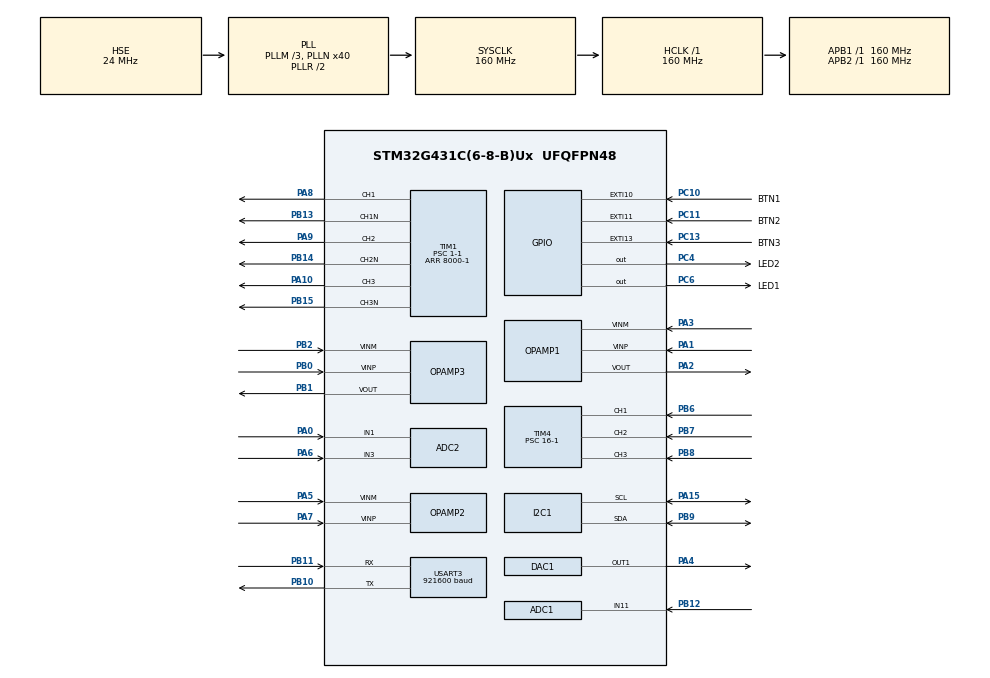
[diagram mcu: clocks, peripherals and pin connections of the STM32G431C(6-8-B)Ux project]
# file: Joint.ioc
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ADC1.Channel-0\#ChannelRegularConversion=ADC_CHANNEL_11
ADC1.ClockPrescaler=ADC_CLOCK_ASYNC_DIV4
ADC1.EnableInjectedConversion=ENABLE
ADC1.ExternalTrigInjecConv=ADC_EXTERNALTRIGINJEC_T1_CC4
ADC1.InjNumberOfConversion=2
ADC1.InjectedChannel-3\#ChannelInjectedConversion=ADC_CHANNEL_3
ADC1.InjectedChannel-4\#ChannelInjectedConversion=ADC_CHANNEL_12
ADC1.InjectedOffsetNumber-3\#ChannelInjectedConversion=ADC_OFFSET_NONE
ADC1.InjectedOffsetNumber-4\#ChannelInjectedConversion=ADC_OFFSET_NONE
ADC1.InjectedRank-3\#ChannelInjectedConversion=1
ADC1.InjectedRank-4\#ChannelInjectedConversion=2
ADC1.InjectedSamplingTime-3\#ChannelInjectedConversion=ADC_SAMPLETIME_6CYCLES_5
ADC1.InjectedSamplingTime-4\#ChannelInjectedConversion=ADC_SAMPLETIME_6CYCLES_5
ADC1.NbrOfConversionFlag=1
ADC1.OffsetNumber-0\#ChannelRegularConversion=ADC_OFFSET_NONE
ADC1.Rank-0\#ChannelRegularConversion=1
ADC1.Rank1_Channel=ADC_CHANNEL_3
ADC1.Rank2_Channel=ADC_CHANNEL_12
ADC1.SamplingTime-0\#ChannelRegularConversion=ADC_SAMPLETIME_2CYCLES_5
ADC1.master=1
ADC2.Channel-0\#ChannelRegularConversion=ADC_CHANNEL_1
ADC2.ClockPrescaler=ADC_CLOCK_ASYNC_DIV4
ADC2.EnableInjectedConversion=ENABLE
ADC2.ExternalTrigInjecConv=ADC_EXTERNALTRIGINJEC_T1_CC4
ADC2.InjNumberOfConversion=1
ADC2.InjectedChannel-1\#ChannelInjectedConversion=ADC_CHANNEL_3
ADC2.InjectedOffsetNumber-1\#ChannelInjectedConversion=ADC_OFFSET_NONE
ADC2.InjectedRank-1\#ChannelInjectedConversion=1
ADC2.InjectedSamplingTime-1\#ChannelInjectedConversion=ADC_SAMPLETIME_6CYCLES_5
ADC2.NbrOfConversionFlag=1
ADC2.OffsetNumber-0\#ChannelRegularConversion=ADC_OFFSET_NONE
ADC2.Rank-0\#ChannelRegularConversion=1
ADC2.Rank1_Channel=ADC_CHANNEL_3
ADC2.Rank2_Channel=ADC_CHANNEL_1
ADC2.SamplingTime-0\#ChannelRegularConversion=ADC_SAMPLETIME_2CYCLES_5
COMP1.TriggerMode=COMP_TRIGGERMODE_IT_RISING
Dma.Request0=USART3_RX
Dma.Request1=USART3_TX
Dma.USART3_RX.0.Direction=DMA_PERIPH_TO_MEMORY
Dma.USART3_RX.0.EventEnable=DISABLE
Dma.USART3_RX.0.Instance=DMA1_Channel1
Dma.USART3_RX.0.MemDataAlignment=DMA_MDATAALIGN_BYTE
Dma.USART3_RX.0.MemInc=DMA_MINC_ENABLE
Dma.USART3_RX.0.Mode=DMA_NORMAL
Dma.USART3_RX.0.PeriphDataAlignment=DMA_PDATAALIGN_BYTE
Dma.USART3_RX.0.PeriphInc=DMA_PINC_DISABLE
Dma.USART3_RX.0.Polarity=HAL_DMAMUX_REQ_GEN_RISING
Dma.USART3_RX.0.Priority=DMA_PRIORITY_LOW
Dma.USART3_RX.0.RequestNumber=1
Dma.USART3_RX.0.SignalID=NONE
Dma.USART3_RX.0.SyncEnable=DISABLE
Dma.USART3_RX.0.SyncPolarity=HAL_DMAMUX_SYNC_NO_EVENT
Dma.USART3_RX.0.SyncRequestNumber=1
Dma.USART3_RX.0.SyncSignalID=NONE
Dma.USART3_TX.1.Direction=DMA_MEMORY_TO_PERIPH
Dma.USART3_TX.1.EventEnable=DISABLE
Dma.USART3_TX.1.Instance=DMA1_Channel2
Dma.USART3_TX.1.MemDataAlignment=DMA_MDATAALIGN_BYTE
Dma.USART3_TX.1.MemInc=DMA_MINC_ENABLE
Dma.USART3_TX.1.Mode=DMA_NORMAL
Dma.USART3_TX.1.PeriphDataAlignment=DMA_PDATAALIGN_BYTE
Dma.USART3_TX.1.PeriphInc=DMA_PINC_DISABLE
Dma.USART3_TX.1.Polarity=HAL_DMAMUX_REQ_GEN_RISING
Dma.USART3_TX.1.Priority=DMA_PRIORITY_LOW
Dma.USART3_TX.1.RequestNumber=1
Dma.USART3_TX.1.SignalID=NONE
Dma.USART3_TX.1.SyncEnable=DISABLE
Dma.USART3_TX.1.SyncPolarity=HAL_DMAMUX_SYNC_NO_EVENT
Dma.USART3_TX.1.SyncRequestNumber=1
Dma.USART3_TX.1.SyncSignalID=NONE
FREERTOS.Tasks01=defaultTask,24,128,StartDefaultTask,Default,NULL,Dynamic,NULL,NULL;foctask,48,256,FOCTask,Default,NULL,Dynamic,NULL,NULL
FREERTOS.configMINIMAL_STACK_SIZE=64
I2C1.Timing=0x30D29DE4
Mcu.Family=STM32G4
Mcu.Name=STM32G431C(6-8-B)Ux
Mcu.Package=UFQFPN48
NVIC.ADC1_2_IRQn=true\:5\:0\:false\:false\:true\:true\:true\:true\:true
NVIC.COMP1_2_3_IRQn=true\:5\:0\:false\:false\:true\:true\:false\:true\:true
NVIC.DMA1_Channel1_IRQn=true\:5\:0\:false\:false\:true\:true\:false\:true\:true
NVIC.DMA1_Channel2_IRQn=true\:5\:0\:false\:false\:true\:true\:false\:true\:true
NVIC.EXTI15_10_IRQn=true\:5\:0\:false\:false\:true\:true\:true\:true\:true
NVIC.PriorityGroup=NVIC_PRIORITYGROUP_4
NVIC.TIM1_BRK_TIM15_IRQn=true\:5\:0\:false\:false\:true\:true\:true\:true\:true
NVIC.TIM1_CC_IRQn=true\:5\:0\:false\:false\:true\:true\:true\:true\:true
NVIC.TIM1_UP_TIM16_IRQn=true\:5\:0\:false\:false\:true\:true\:true\:true\:true
NVIC.TIM2_IRQn=true\:5\:0\:false\:false\:true\:true\:true\:true\:true
NVIC.TIM4_IRQn=true\:5\:0\:false\:false\:true\:true\:true\:true\:true
NVIC.TIM6_DAC_IRQn=true\:5\:0\:true\:false\:true\:true\:true\:true\:true
NVIC.TIM7_IRQn=true\:15\:0\:false\:false\:true\:false\:false\:true\:true
NVIC.TimeBase=TIM7_IRQn
NVIC.TimeBaseIP=TIM7
NVIC.USART3_IRQn=true\:5\:0\:false\:false\:true\:true\:true\:true\:true
PA0.Mode=IN1-Single-Ended
PA0.Signal=ADC2_IN1
PA1.Mode=Standalone
PA1.Signal=OPAMP1_VINP
PA10.Signal=S_TIM1_CH3
PA13.Mode=Serial_Wire
PA13.Signal=SYS_JTMS-SWDIO
PA14.Mode=Serial_Wire
PA14.Signal=SYS_JTCK-SWCLK
PA15.Mode=I2C
PA15.Signal=I2C1_SCL
PA2.Signal=SharedAnalog_PA2
PA3.Mode=Standalone
PA3.Signal=OPAMP1_VINM
PA4.Signal=COMP_DAC11_group
PA5.Mode=Standalone
PA5.Signal=OPAMP2_VINM
PA6.Signal=SharedAnalog_PA6
PA7.Mode=Standalone
PA7.Signal=OPAMP2_VINP
PA8.Signal=S_TIM1_CH1
PA9.Signal=S_TIM1_CH2
PB0.Mode=Standalone
PB0.Signal=OPAMP3_VINP
PB1.Signal=SharedAnalog_PB1
PB10.Mode=Asynchronous
PB10.Signal=USART3_TX
PB11.Mode=Asynchronous
PB11.Signal=USART3_RX
PB12.Mode=IN11-Single-Ended
PB12.Signal=ADC1_IN11
PB13.Mode=PWM Generation1 CH1 CH1N
PB13.Signal=TIM1_CH1N
PB14.Mode=PWM Generation2 CH2 CH2N
PB14.Signal=TIM1_CH2N
PB15.Mode=PWM Generation3 CH3 CH3N
PB15.Signal=TIM1_CH3N
PB2.Mode=Standalone
PB2.Signal=OPAMP3_VINM
PB6.Signal=S_TIM4_CH1
PB7.Signal=S_TIM4_CH2
PB8-BOOT0.Signal=S_TIM4_CH3
PB9.Mode=I2C
PB9.Signal=I2C1_SDA
PC10.GPIO_Label=BTN1
PC10.Signal=GPXTI10
PC11.GPIO_Label=BTN2
PC11.Signal=GPXTI11
PC13.GPIO_Label=BTN3
PC13.Signal=GPXTI13
PC4.GPIO_Label=LED2
PC4.Signal=GPIO_Output
PC6.GPIO_Label=LED1
PC6.Signal=GPIO_Output
PF0-OSC_IN.Mode=HSE-External-Oscillator
PF0-OSC_IN.Signal=RCC_OSC_IN
PF1-OSC_OUT.Mode=HSE-External-Oscillator
PF1-OSC_OUT.Signal=RCC_OSC_OUT
ProjectManager.HeapSize=0x200
ProjectManager.StackSize=0x400
ProjectManager.TargetToolchain=MDK-ARM V5.32
RCC.ADC12Freq_Value=160000000
RCC.AHBFreq_Value=160000000
RCC.APB1Freq_Value=160000000
RCC.APB1TimFreq_Value=160000000
RCC.APB2Freq_Value=160000000
RCC.APB2TimFreq_Value=160000000
RCC.CortexFreq_Value=160000000
RCC.EXTERNAL_CLOCK_VALUE=12288000
RCC.HCLKFreq_Value=160000000
RCC.HSE_VALUE=24000000
RCC.HSI48_VALUE=48000000
RCC.HSI_VALUE=16000000
RCC.LSE_VALUE=32768
RCC.PLLM=RCC_PLLM_DIV3
RCC.PLLN=40
RCC.PLLSourceVirtual=RCC_PLLSOURCE_HSE
RCC.SYSCLKFreq_VALUE=160000000
RCC.SYSCLKSource=RCC_SYSCLKSOURCE_PLLCLK
RCC.USBFreq_Value=160000000
RCC.VCOOutputFreq_Value=320000000
SH.COMP_DAC11_group.0=DAC1_OUT1,DAC_OUT1
SH.S_TIM1_CH1.0=TIM1_CH1,PWM Generation1 CH1 CH1N
SH.S_TIM1_CH2.0=TIM1_CH2,PWM Generation2 CH2 CH2N
SH.S_TIM1_CH3.0=TIM1_CH3,PWM Generation3 CH3 CH3N
SH.S_TIM4_CH1.0=TIM4_CH1,Xored_Inputs_Hall_Sensor_Interface
SH.S_TIM4_CH2.0=TIM4_CH2,Xored_Inputs_Hall_Sensor_Interface
SH.S_TIM4_CH3.0=TIM4_CH3,Xored_Inputs_Hall_Sensor_Interface
SH.SharedAnalog_PA2.0=OPAMP1_VOUT,Standalone
SH.SharedAnalog_PA2.1=ADC1_IN3,IN3-Single-Ended
SH.SharedAnalog_PA6.0=ADC2_IN3,IN3-Single-Ended
SH.SharedAnalog_PA6.1=OPAMP2_VOUT,Standalone
SH.SharedAnalog_PB1.0=OPAMP3_VOUT,Standalone
SH.SharedAnalog_PB1.1=ADC1_IN12,IN12-Single-Ended
SH.SharedAnalog_PB1.2=COMP1_INP,INP
TIM1.BreakFilter=0
TIM1.BreakState=TIM_BREAK_DISABLE
TIM1.Channel-PWM\ Generation1\ CH1\ CH1N=TIM_CHANNEL_1
TIM1.Channel-PWM\ Generation2\ CH2\ CH2N=TIM_CHANNEL_2
TIM1.Channel-PWM\ Generation3\ CH3\ CH3N=TIM_CHANNEL_3
TIM1.Channel-PWM\ Generation4\ No\ Output=TIM_CHANNEL_4
TIM1.ClockDivision=TIM_CLOCKDIVISION_DIV2
TIM1.CounterMode=TIM_COUNTERMODE_CENTERALIGNED1
TIM1.DeadTime=120
TIM1.OCMode_PWM-PWM\ Generation4\ No\ Output=TIM_OCMODE_PWM2
TIM1.PeriodNoDither=8000-1
TIM1.Prescaler=1-1
TIM1.PulseNoDither_4=8000-2
TIM1.RepetitionCounter=1
TIM1.SourceBRKCOMP1=TIM_BREAKINPUTSOURCE_DISABLE
TIM1.TIM_MasterOutputTrigger=TIM_TRGO_OC4REF
TIM2.AutoReloadPreload=TIM_AUTORELOAD_PRELOAD_ENABLE
TIM2.PeriodNoDither=500-1
TIM2.Prescaler=160-1
TIM4.Commutation_Delay=5
TIM4.IC1Filter=10
TIM4.Prescaler=16-1
USART3.BaudRate=921600
USART3.VirtualMode-Asynchronous=VM_ASYNC
VP_COMP1_VS_DAC3OUT1.Mode=INM_DAC3OUT1
VP_DAC3_VS_DACI1.Mode=DAC_OUT1_Int
VP_FREERTOS_VS_CMSIS_V2.Mode=CMSIS_V2
VP_SYS_VS_DBSignals.Mode=DisableDeadBatterySignals
VP_SYS_VS_tim7.Mode=TIM7
VP_TIM1_VS_ClockSourceINT.Mode=Internal
VP_TIM1_VS_no_output4.Mode=PWM Generation4 No Output
VP_TIM2_VS_ClockSourceINT.Mode=Internal
VP_TIM4_VS_ClockSourceINT.Mode=Internal
board=custom

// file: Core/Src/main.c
/* USER CODE BEGIN Header */
/**
  ******************************************************************************
  * @file           : main.c
  * @brief          : Main program body
  ******************************************************************************
  * @attention
  *
  * Copyright (c) 2025 STMicroelectronics.
  * All rights reserved.
  *
  * This software is licensed under terms that can be found in the LICENSE file
  * in the root directory of this software component.
  * If no LICENSE file comes with this software, it is provided AS-IS.
  *
  ******************************************************************************
  */
/* USER CODE END Header */
#include "main.h"
#include "cmsis_os.h"
#include "adc.h"
#include "comp.h"
#include "dac.h"
#include "dma.h"
#include "i2c.h"
#include "opamp.h"
#include "tim.h"
#include "usart.h"
#include "gpio.h"

/* USER CODE BEGIN Includes */
#include <stdio.h>
#include "stm32g4xx_hal_uart_ex.h"
#include "BspCommUsart.h"
#include "BspADC.h"
#include "App_ADC.h"
#include "BspTIM.h"
#include "cm_backtrace.h"
#include "SEGGER_RTT.h"
#include "BspDac.h"
#include "log.h"
#include "Drv_AS5600.h"
/* USER CODE END Includes */

/* USER CODE BEGIN PV */
float g_FloatTxData[12];
/* USER CODE END PV */

void SystemClock_Config(void);
void MX_FREERTOS_Init(void);

int main(void)
{

  /* MCU Configuration--------------------------------------------------------*/

  /* Reset of all peripherals, Initializes the Flash interface and the Systick. */
  HAL_Init();

  /* USER CODE BEGIN Init */
    Log_Init();
    LOG_I("Log System Initialized");
    LOG_D("Log System Debug Open");
  /* USER CODE END Init */

  /* Configure the system clock */
  SystemClock_Config();

  /* USER CODE BEGIN SysInit */
    SEGGER_RTT_printf(0, "[info] sysinit beginning\r\n");
  /* USER CODE END SysInit */

  /* Initialize all configured peripherals */
  MX_GPIO_Init();
  MX_DMA_Init();
  MX_USART3_UART_Init();
  MX_ADC1_Init();
  MX_OPAMP1_Init();
  MX_OPAMP3_Init();
  MX_TIM1_Init();
  MX_TIM4_Init();
  MX_ADC2_Init();
  MX_DAC3_Init();
  MX_DAC1_Init();
  MX_OPAMP2_Init();
  MX_COMP1_Init();
  MX_I2C1_Init();
  MX_TIM2_Init();
  /* USER CODE BEGIN 2 */
    BspUsartInit();
    BspAdcInit();
    BspTIM_Init();
//    BspDac_Init();
    AS5600_Init();
    SEGGER_RTT_printf(0, "[info] Os Start\r\n");
  /* USER CODE END 2 */

  /* Init scheduler */
  osKernelInitialize();

  /* Call init function for freertos objects (in cmsis_os2.c) */
  MX_FREERTOS_Init();

  /* Start scheduler */
  osKernelStart();

  /* We should never get here as control is now taken by the scheduler */

  /* Infinite loop */
  while (1)
  {

  }
}

void SystemClock_Config(void)
{
  RCC_OscInitTypeDef RCC_OscInitStruct = {0};
  RCC_ClkInitTypeDef RCC_ClkInitStruct = {0};

  /** Configure the main internal regulator output voltage
  */
  HAL_PWREx_ControlVoltageScaling(PWR_REGULATOR_VOLTAGE_SCALE1_BOOST);

  /** Initializes the RCC Oscillators according to the specified parameters
  * in the RCC_OscInitTypeDef structure.
  */
  RCC_OscInitStruct.OscillatorType = RCC_OSCILLATORTYPE_HSE;
  RCC_OscInitStruct.HSEState = RCC_HSE_ON;
  RCC_OscInitStruct.PLL.PLLState = RCC_PLL_ON;
  RCC_OscInitStruct.PLL.PLLSource = RCC_PLLSOURCE_HSE;
  RCC_OscInitStruct.PLL.PLLM = RCC_PLLM_DIV3;
  RCC_OscInitStruct.PLL.PLLN = 40;
  RCC_OscInitStruct.PLL.PLLP = RCC_PLLP_DIV2;
  RCC_OscInitStruct.PLL.PLLQ = RCC_PLLQ_DIV2;
  RCC_OscInitStruct.PLL.PLLR = RCC_PLLR_DIV2;
  if (HAL_RCC_OscConfig(&RCC_OscInitStruct) != HAL_OK)
  {
    Error_Handler();
  }

  /** Initializes the CPU, AHB and APB buses clocks
  */
  RCC_ClkInitStruct.ClockType = RCC_CLOCKTYPE_HCLK|RCC_CLOCKTYPE_SYSCLK
                              |RCC_CLOCKTYPE_PCLK1|RCC_CLOCKTYPE_PCLK2;
  RCC_ClkInitStruct.SYSCLKSource = RCC_SYSCLKSOURCE_PLLCLK;
  RCC_ClkInitStruct.AHBCLKDivider = RCC_SYSCLK_DIV1;
  RCC_ClkInitStruct.APB1CLKDivider = RCC_HCLK_DIV1;
  RCC_ClkInitStruct.APB2CLKDivider = RCC_HCLK_DIV1;

  if (HAL_RCC_ClockConfig(&RCC_ClkInitStruct, FLASH_LATENCY_4) != HAL_OK)
  {
    Error_Handler();
  }
}

/* USER CODE BEGIN 4 */
//int fputc(int ch, FILE *f)
//{
//  /* Place your implementation of fputc here */
//  /* e.g. write a character to the USART3 and Loop until the end of transmission */
//  while((USART3->ISR & 0x40) == 0);
//  USART3->TDR = (uint8_t)(ch & 0xFF);
//  return ch;
//}
#ifdef mmm
/* USER CODE END 4 */

void HAL_TIM_PeriodElapsedCallback(TIM_HandleTypeDef *htim)
{
  if (htim->Instance == TIM7) {
    HAL_IncTick();
  }
  /* USER CODE BEGIN Callback 1 */
    #endif
    void hhh(){
  /* USER CODE END Callback 1 */
}

void Error_Handler(void)
{
  __disable_irq();
  while (1)
  {
  }
}

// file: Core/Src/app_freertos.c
/* USER CODE BEGIN Header */
/**
  ******************************************************************************
  * File Name          : app_freertos.c
  * Description        : Code for freertos applications
  ******************************************************************************
  * @attention
  *
  * Copyright (c) 2025 STMicroelectronics.
  * All rights reserved.
  *
  * This software is licensed under terms that can be found in the LICENSE file
  * in the root directory of this software component.
  * If no LICENSE file comes with this software, it is provided AS-IS.
  *
  ******************************************************************************
  */
/* USER CODE END Header */

#include "FreeRTOS.h"
#include "task.h"
#include "main.h"
#include "cmsis_os.h"

/* USER CODE BEGIN Includes */
#include "App_ADC.h"
#include "BspTIM.h"
#include "gpio.h"
#include "log.h"
#include "FOC_Manager.h"
/* USER CODE END Includes */

/* USER CODE BEGIN Variables */

uint8_t heartBeatPlot = 0;
/* USER CODE END Variables */
/* Definitions for defaultTask */
osThreadId_t defaultTaskHandle;
const osThreadAttr_t defaultTask_attributes = {
  .name = "defaultTask",
  .priority = (osPriority_t) osPriorityNormal,
  .stack_size = 128 * 4
};
/* Definitions for foctask */
osThreadId_t foctaskHandle;
const osThreadAttr_t foctask_attributes = {
  .name = "foctask",
  .priority = (osPriority_t) osPriorityRealtime,
  .stack_size = 256 * 4
};

void StartDefaultTask(void *argument);
void FOCTask(void *argument);

void MX_FREERTOS_Init(void); /* (MISRA C 2004 rule 8.1) */

void MX_FREERTOS_Init(void) {

  /* Create the thread(s) */
  /* creation of defaultTask */
  defaultTaskHandle = osThreadNew(StartDefaultTask, NULL, &defaultTask_attributes);

  /* creation of foctask */
  foctaskHandle = osThreadNew(FOCTask, NULL, &foctask_attributes);

}

void StartDefaultTask(void *argument)
{
  /* USER CODE BEGIN StartDefaultTask */
  static uint16_t tick = 0;
  /* Infinite loop */
  for(;;)
  {
    tick++;
    Log_Process(1);
    osDelay(1);

    // led heartbeat
    if(tick % 500 == 0)
    {
        tick = 0;
        HAL_GPIO_TogglePin(GPIOC, LED1_Pin);
    }
  }
  /* USER CODE END StartDefaultTask */
}

void FOCTask(void *argument)
{
  /* USER CODE BEGIN FOCTask */
  static uint16_t TaskTick = 0;
  FOC_Manager_Init();
  /* Infinite loop */
  for(;;)
  {
    TaskTick +=10;
    FOC_Manager_Process(TaskTick);
    if(TaskTick >= 60000)
    {
        TaskTick = 0;
    }
    osDelay(10);
  }
  /* USER CODE END FOCTask */
}
